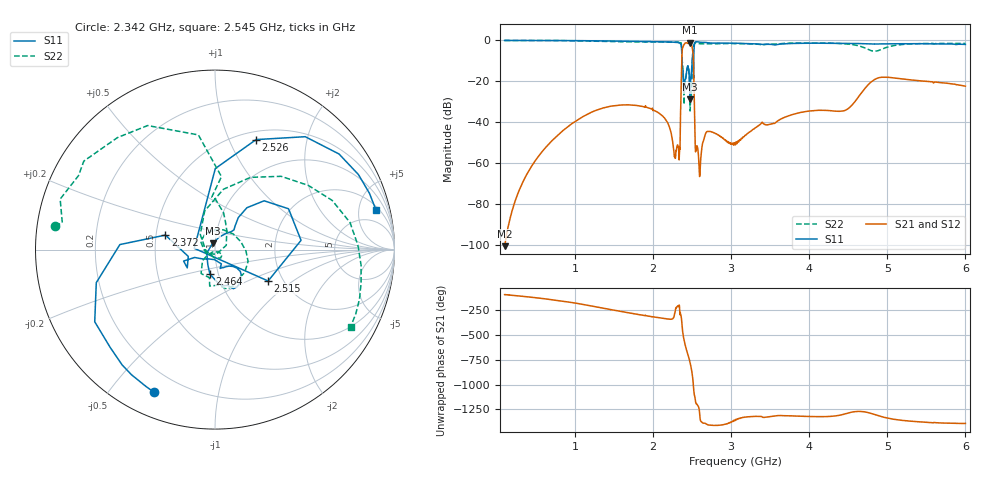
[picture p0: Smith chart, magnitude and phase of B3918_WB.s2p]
! Matrix data file written by TouchstoneData, EPCOS AG
! FILENAME: "B3918.PCB3.WB.snp"
! COMMENT: "xxxx"
! INFO: nport=2, nfreq=1601
! DATE: "Mon Dec  2 10:58:46 2013"
! USER: "Dan Wang"
! port | pin | signal
!  1  |  2  |  Input
!  2  |  5  |  Output
# MHZ S RI R 50
! freq  reS11 imS11  reS21 imS21  reS12 imS12  reS22 imS22
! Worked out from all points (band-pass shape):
!   1601 points, 100 MHz to 6 GHz, reference 50 ohm
!   highest |S21| = -1.09 dB at 2.471 GHz (marker M1); lowest = -100.4 dB at 100 MHz (marker M2)
!   |S21| within 3 dB of the highest: 2.377 GHz to 2.505 GHz (128 MHz wide, 5.24 % of centre)
!   lowest |S11| = -28.7 dB at 2.475 GHz (marker M3), VSWR 1.08, Z = 48.5 + j3.32 ohm
!   |S11| at or under -10 dB: 2.371 GHz to 2.502 GHz (130.6 MHz wide, 5.36 % of centre); 2.515596 GHz to 2.521722 GHz (6.126 MHz wide, 0.243 % of centre)
!   |S22| runs from -34.4 to 0.0 dB; largest |S21 - S12| = 0
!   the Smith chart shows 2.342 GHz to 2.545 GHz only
!   S11 on the Smith chart (normalised r, x): 2.342 GHz: 0.10, -0.65; 2.372 GHz: 0.56, +0.10; 2.464 GHz: 0.91, -0.25; 2.515 GHz: 1.68, -0.66; 2.526 GHz: 0.59, +1.26; 2.545 GHz: 2.45, +7.39
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100  -0.9918 0.1281  -1.32e-06 -9.46e-06  -1.32e-06 -9.46e-06  -0.9917 0.1282
1084.562  0.1089 0.9808  -0.0129 0.00316  -0.0129 0.00316  0.3069 0.9292
1530.75  0.8344 0.4814  -0.00532 0.0253  -0.00532 0.0253  0.9336 -0.0791
2069.125  0.7512 -0.5461  0.0147 0.0089  0.0147 0.0089  -0.0167 -0.9139
2283  0.2055 -0.8811  4.2e-05 0.00133  4.2e-05 0.00133  -0.7003 -0.5752
2319.875  -0.051 -0.8921  -0.00205 0.00154  -0.00205 0.00154  -0.8675 -0.2628
2342  -0.3411 -0.7937  -0.000913 0.00227  -0.000913 0.00227  -0.8916 0.1311
2371.5  -0.2764 0.0808  0.3744 -0.287  0.3744 -0.287  0.036 0.4065
2393.625  -0.0432 -0.051  -0.7753 -0.0384  -0.7753 -0.0384  0.0628 0.024
2426.812  0.1217 -0.1027  0.2617 0.8374  0.2617 0.8374  0.1445 0.0434
2463.688  -0.0289 -0.1355  0.7933 -0.3508  0.7933 -0.3508  -0.0775 -0.1334
2471.062  -0.0458 -0.0191  0.6056 -0.6417  0.6056 -0.6417  -0.0499 -0.0395
2474.75  -0.0136 0.0342  0.4484 -0.7547  0.4484 -0.7547  -0.0137 -0.0132
2515.312  0.296 -0.1748  0.000732 0.4221  0.000732 0.4221  0.5206 0.3573
2526.375  0.2287 0.6129  0.0633 -0.00627  0.0633 -0.00627  0.7964 0.0243
2544.812  0.8963 0.2221  -9.61e-06 -0.00192  -9.61e-06 -0.00192  0.7556 -0.4304
2592.75  0.8407 -0.3422  -0.000633 -5.56e-05  -0.000633 -5.56e-05  0.3567 -0.7505
2703.375  0.5946 -0.6453  0.00485 0.00358  0.00485 0.00358  -0.0376 -0.8262
3050  0.1727 -0.8375  0.000537 0.0028  0.000537 0.0028  -0.4644 -0.696
4034.562  -0.5713 -0.6403  -0.00937 0.0169  -0.00937 0.0169  -0.8586 -0.1339
5019.125  -0.8225 0.0828  -0.0229 0.1237  -0.0229 0.1237  -0.6858 0.1535
6000  -0.4901 0.634  0.0496 0.0585  0.0496 0.0585  -0.43 0.7276
